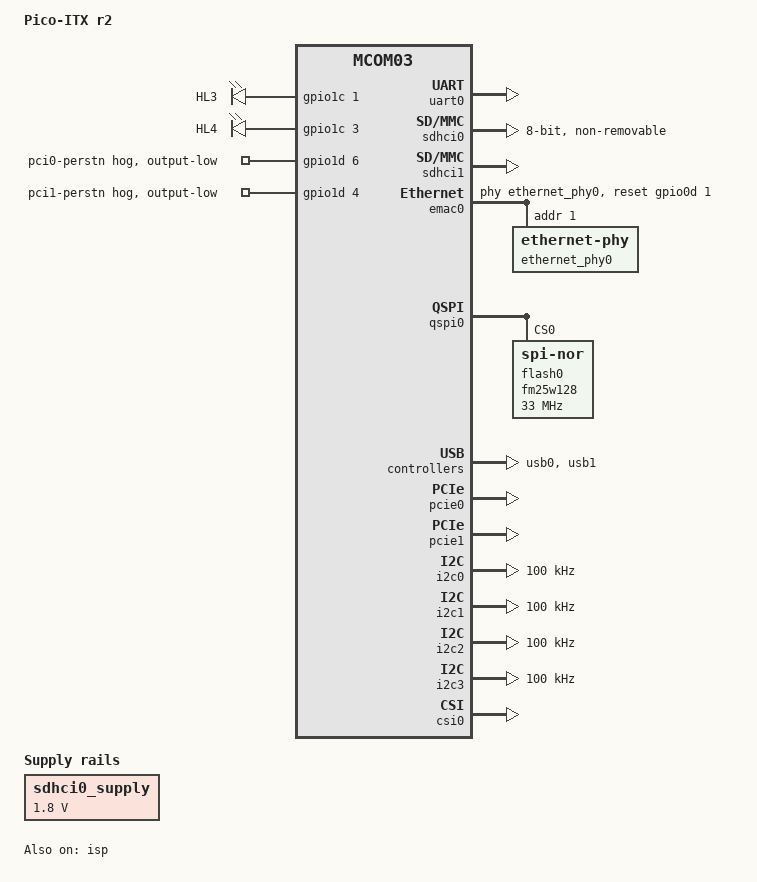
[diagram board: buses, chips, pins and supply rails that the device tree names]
// SPDX-License-Identifier: GPL-2.0+
// Copyright 2024 RnD Center "ELVEES", JSC

/dts-v1/;

#include <dt-bindings/gpio/gpio.h>

#include "mcom03.dtsi"

/ {
	model = "Pico-ITX r2";
	compatible = "macro-ems,pico-itx-r2",
		     "macro-ems,pico-itx",
		     "elvees,mcom03";

	chosen {
		stdout-path = "serial0:115200n8";
	};

	picoitx-leds {
		compatible = "gpio-leds";

		HL3 {
			gpios = <&gpio1c 1 GPIO_ACTIVE_HIGH>;
			default-state = "on";
			linux,default-trigger = "heartbeat";
		};

		HL4 {
			gpios = <&gpio1c 3 GPIO_ACTIVE_HIGH>;
			default-state = "off";
		};
	};

	sdhci0_supply: regulator@0 {
		compatible = "regulator-fixed";
		regulator-name = "sdhci0-supply";
		regulator-min-microvolt = <1800000>;
		regulator-max-microvolt = <1800000>;
		regulator-always-on;
	};

	thermal-zones {
		cpu_thermal: cpu0-thermal {
			thermal-sensors = <&pvt 0>;
			polling-delay-passive = <250>;
			polling-delay = <1000>;

			trips {
				cpu_alert0: cpu-alert-0 {
					temperature = <50000>;
					hysteresis = <1000>;
					type = "active";
				};
			};
		};
	};
};

&gpio1d {
	pci0-perstn {
		gpio-hog;
		gpios = <6 GPIO_ACTIVE_HIGH>;
		output-low;
	};

	pci1-perstn {
		gpio-hog;
		gpios = <4 GPIO_ACTIVE_HIGH>;
		output-low;
	};
};

&uart0 {
	status = "okay";
};

/* Connected to eMMC */
&sdhci0 {
	status = "okay";

	non-removable;
	bus-width = <8>;

	vqmmc-supply = <&sdhci0_supply>;
};

/* Connected to MicroSD card */
&sdhci1 {
	status = "okay";

	/* Disable 1.8V support
	 * Disable High Speed support
	 * Disable SDR50, SDR104 and DDR50 support
	 */
	sdhci-caps-mask = <0x7 0x4200000>;
	sdhci-caps = <0x0 0x0>;
};

&hsperiph_pinctrl {
	pinctrl-0 = <&hsperiph_misc_default &emac_v18>;
};

&emac0 {
	status = "okay";
	phy-handle = <&ethernet_phy0>;
	reset-gpios = <&gpio0d 1 GPIO_ACTIVE_HIGH>;
	reset-post-delay-us = <200>;

	ethernet_phy0: ethernet-phy@1 {
		reg = <0x1>;
	};
};

&qspi0 {
	status = "okay";

	flash0: fm25w128@0 {
		#address-cells = <1>;
		#size-cells = <1>;
		compatible = "jedec,spi-nor", "spi-flash";
		reg = <0x0>;
		/* This is the highest frequency at which all commands are
		 * supported by the flash device.
		 */
		spi-max-frequency = <33000000>;
		m25p,fast-read;
	};
};

&usb0 {
	status = "okay";
};

&usb1 {
	status = "okay";
};

&pcie0 {
	status = "okay";
};

&pcie1 {
	status = "okay";
};

&i2c0 {
	/* Not all devices are checked to 400kHz support */
	clock-frequency = <100000>;
	status = "okay";
};

&i2c1 {
	/* Not all devices are checked to 400kHz support */
	clock-frequency = <100000>;
	status = "okay";
};

&i2c2 {
	/* Not all devices are checked to 400kHz support */
	clock-frequency = <100000>;
	status = "okay";
};

&i2c3 {
	/* Not all devices are checked to 400kHz support */
	clock-frequency = <100000>;
	status = "okay";
};

&isp {
	status = "okay";
};

&csi0 {
	status = "okay";
	pwdn_gpio = <&gpio0c 1 GPIO_ACTIVE_HIGH>;
};
